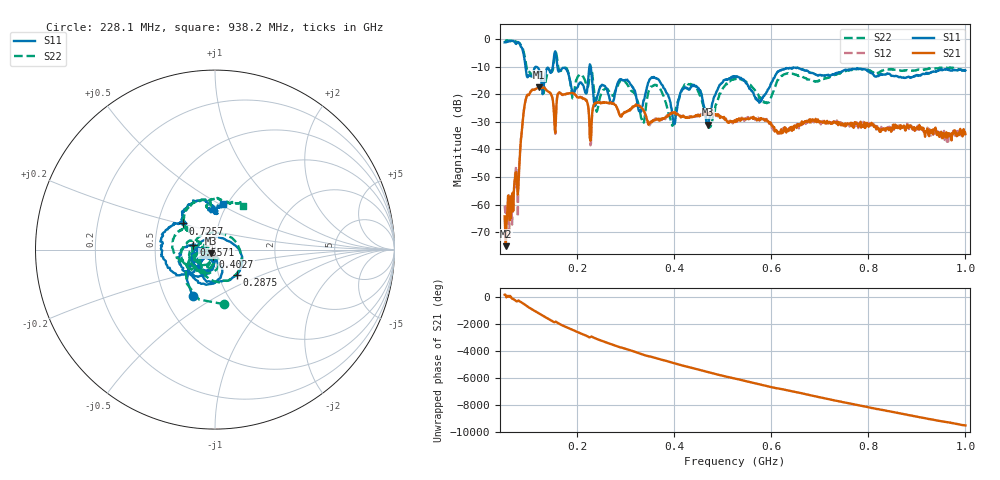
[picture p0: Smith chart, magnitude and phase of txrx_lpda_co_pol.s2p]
!Agilent Technologies,N5230C,MY49001079,A.09.31.02
!Agilent N5230C: A.09.31.02
!Date: Monday, April 10, 2023 13:37:36
!Correction: S11(Full 2 Port(1,3))
!S31(Full 2 Port(1,3))
!S13(Full 2 Port(1,3))
!S33(Full 2 Port(1,3))
!S2P File: Measurements: S11, S31, S13, S33:
# Hz S  RI  R 50
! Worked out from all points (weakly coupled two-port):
!   801 points, 50 MHz to 1 GHz, reference 50 ohm
!   highest |S21| = -17.40 dB at 120.1 MHz (marker M1); lowest = -75.1 dB at 52.38 MHz (marker M2)
!   lowest |S11| = -31.0 dB at 469.2 MHz (marker M3), VSWR 1.06, Z = 47.9 - j1.81 ohm
!   |S11| at or under -10 dB: 114.8 MHz to 149.4 MHz (34.61 MHz wide, 26.2 % of centre); 158.8 MHz to 224.9 MHz (66.04 MHz wide, 34.4 % of centre); 227.4 MHz to end of sweep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
!   |S22| runs from -32.2 to -0.4 dB; largest |S21 - S12| = 0.0076
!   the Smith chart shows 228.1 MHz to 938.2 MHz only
!   S11 on the Smith chart (normalised r, x): 228.1 MHz: 0.69, -0.39; 287.5 MHz: 1.21, -0.36; 402.7 MHz: 0.98, -0.07; 557.1 MHz: 0.79, +0.04; 725.7 MHz: 0.67, +0.21; 938.2 MHz: 0.96, +0.52
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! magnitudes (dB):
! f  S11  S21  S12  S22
! 50 MHz  -1.2  -64.3  -60.4  -0.5
! 52.38 MHz  -1.1  -75.1  -63.1  -0.6
! 63.06 MHz  -0.6  -64.9  -63.0  -0.5
! 93.94 MHz  -11.1  -21.6  -21.6  -8.9
! 120.1 MHz  -10.6  -17.4  -17.4  -11.7
! 153.3 MHz  -4.8  -32.2  -32.4  -5.9
! 209.1 MHz  -16.0  -21.3  -21.0  -12.8
! 228.1 MHz  -10.8  -36.3  -37.8  -10.2
! 241.2 MHz  -20.5  -22.8  -23.1  -25.7
! 287.5 MHz  -14.6  -27.6  -28.1  -15.3
! 335 MHz  -23.8  -25.4  -25.3  -30.6
! 367.1 MHz  -14.6  -28.8  -29.7  -17.3
! 402.7 MHz  -28.1  -26.8  -26.8  -25.8
! 441.9 MHz  -17.0  -28.0  -28.2  -16.9
! 469.2 MHz  -31.0  -26.8  -27.0  -31.0
! 525 MHz  -13.6  -30.1  -29.9  -14.4
! 557.1 MHz  -18.3  -28.6  -28.6  -16.6
! 684.1 MHz  -12.2  -29.2  -29.9  -15.1
! 725.7 MHz  -12.8  -30.7  -30.3  -13.3
! 842.1 MHz  -12.6  -33.0  -31.9  -11.0
! 938.2 MHz  -11.7  -32.1  -33.0  -10.7
! 1 GHz  -11.3  -34.4  -33.3  -11.3
